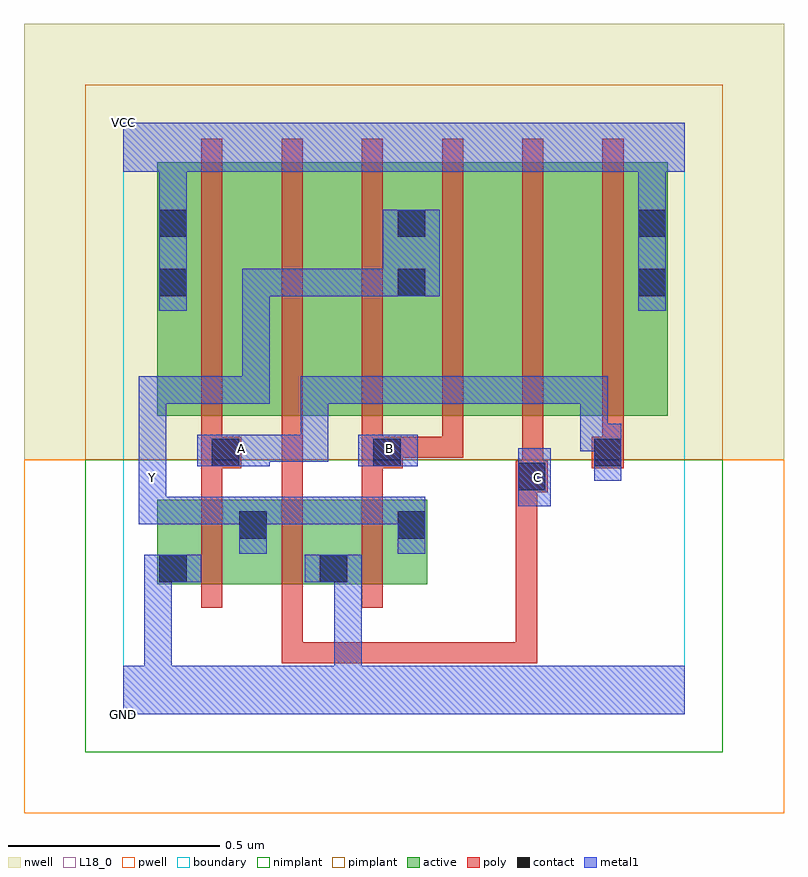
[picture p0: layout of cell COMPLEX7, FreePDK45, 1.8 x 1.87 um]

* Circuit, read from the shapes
.subckt COMPLEX7 A B C GND VCC Y
M1 Y A GND VSUBS nfet w=0.2u l=0.05u
M2 GND C Y VSUBS nfet w=0.2u l=0.05u
M3 Y B GND VSUBS nfet w=0.2u l=0.05u
M4 n1 A VCC n2 pfet w=0.6u l=0.05u
M5 n3 C n1 n2 pfet w=0.6u l=0.05u
M6 Y B n3 n2 pfet w=0.6u l=0.05u
M7 n4 B Y n2 pfet w=0.6u l=0.05u
M8 n5 C n4 n2 pfet w=0.6u l=0.05u
M9 VCC A n5 n2 pfet w=0.6u l=0.05u
.ends

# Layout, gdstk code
import gdstk
lib = gdstk.Library(unit=1e-6, precision=1e-09)
def R(c, l, rs):  # rectangles x0, y0, x1, y1
    for r in rs: c.add(gdstk.rectangle(r[:2], r[2:], *l))
def A(c, l, x, y, w, h, nx, ny, dx, dy):  # array of equal rectangles
    R(c, l, [(x+i*dx, y+j*dy, x+i*dx+w, y+j*dy+h) for i in range(nx) for j in range(ny)])
active = (1, 0)
pwell = (2, 0)
nwell = (3, 0)
nimplant = (4, 0)
pimplant = (5, 0)
poly = (9, 0)
contact = (10, 0)
metal1 = (11, 0)
L18_0 = (18, 0)
boundary = (235, 0)

complex7 = lib.new_cell('COMPLEX7')
R(complex7, active, [(0.08,0.307,0.345,0.507), (0.08,0.307,0.155,0.507), (0.27,0.307,0.535,0.507), (0.46,0.307,0.72,0.507), (0.46,0.307,0.535,0.397), (0.27,0.332,0.345,0.507), (0.645,0.332,0.72,0.507), (0.08,0.707,0.155,1.257), (0.08,0.707,0.305,1.307), (0.305,0.707,0.495,1.307), (0.495,0.707,0.72,1.307), (0.645,0.707,0.875,1.307), (0.645,0.707,0.72,1.2), (0.875,0.707,1.065,1.307), (1.065,0.707,1.29,1.307), (1.215,0.707,1.29,1.257)])
R(complex7, pwell, [(-0.235,-0.235,1.565,0.602)])
R(complex7, nwell, [(-0.235,0.602,1.565,1.635)])
R(complex7, nimplant, [(-0.09,-0.09,1.42,0.602)])
R(complex7, pimplant, [(-0.09,0.602,1.42,1.49)])
A(complex7, poly, 0.185, 0.252, 0.05, 0.31, 3, 1, 0.19, 0)
A(complex7, poly, 0.185, 0.652, 0.05, 0.71, 6, 1, 0.19, 0)
R(complex7, poly, [(0.375,0.12,0.425,0.17), (0.375,0.12,0.425,0.17), (0.375,0.12,0.425,0.17), (0.375,0.12,0.662,0.17), (0.375,0.12,0.425,0.302), (0.612,0.12,0.662,0.17), (0.612,0.12,0.795,0.17), (0.745,0.12,0.795,0.17), (0.745,0.12,0.795,0.17), (0.745,0.12,0.795,0.17), (0.745,0.12,0.98,0.17), (0.93,0.12,0.98,0.17), (0.93,0.12,0.98,0.17), (0.93,0.12,0.98,0.17), (0.93,0.12,0.98,0.575), (0.185,0.512,0.235,0.632), (0.375,0.512,0.425,0.607), (0.565,0.512,0.615,0.632), (0.93,0.525,1.005,0.6), (0.93,0.525,0.98,0.575), (0.93,0.525,0.98,0.575), (0.93,0.525,0.98,0.575), (0.93,0.525,0.98,0.575), (0.945,0.55,0.995,0.702), (0.375,0.557,0.425,0.607), (0.375,0.557,0.425,0.702), (0.185,0.582,0.28,0.657), (0.565,0.582,0.662,0.657), (1.11,0.582,1.185,0.657), (0.185,0.607,0.235,0.702), (0.565,0.607,0.615,0.702), (0.612,0.607,0.662,0.657), (0.612,0.607,0.662,0.657), (0.612,0.607,0.805,0.657), (0.755,0.607,0.805,0.702), (0.755,0.607,0.805,0.657), (1.135,0.607,1.185,0.702)])
R(complex7, contact, [(0.085,0.312,0.15,0.377), (0.465,0.312,0.53,0.377), (0.275,0.415,0.34,0.48), (0.65,0.415,0.715,0.48), (0.935,0.53,1,0.595), (0.21,0.587,0.275,0.652), (0.592,0.587,0.657,0.652), (1.115,0.587,1.18,0.652), (0.085,0.99,0.15,1.055), (0.65,0.99,0.715,1.055), (1.22,0.99,1.285,1.055), (0.085,1.13,0.15,1.195), (0.65,1.13,0.715,1.195), (1.22,1.13,1.285,1.195)])
R(complex7, metal1, [(0,0,1.33,0.115), (0.05,0.05,0.115,0.377), (0.5,0.05,0.565,0.115), (0.5,0.05,0.565,0.115), (0.5,0.05,0.565,0.115), (0.5,0.05,0.565,0.115), (0.5,0.05,0.565,0.377), (0.05,0.312,0.115,0.377), (0.05,0.312,0.115,0.377), (0.05,0.312,0.115,0.377), (0.05,0.312,0.115,0.377), (0.05,0.312,0.185,0.377), (0.43,0.312,0.565,0.377), (0.275,0.38,0.34,0.515), (0.65,0.38,0.715,0.515), (0.037,0.45,0.102,0.515), (0.037,0.45,0.102,0.515), (0.037,0.45,0.34,0.515), (0.037,0.45,0.102,0.627), (0.275,0.45,0.34,0.515), (0.275,0.45,0.34,0.515), (0.275,0.45,0.485,0.515), (0.42,0.45,0.485,0.515), (0.42,0.45,0.485,0.515), (0.42,0.45,0.485,0.515), (0.42,0.45,0.715,0.515), (0.65,0.45,0.715,0.515), (0.65,0.45,0.715,0.515), (0.935,0.492,1.012,0.63), (1.115,0.552,1.18,0.687), (0.037,0.562,0.102,0.8), (0.175,0.587,0.347,0.662), (0.557,0.587,0.697,0.662), (0.282,0.597,0.347,0.662), (0.282,0.597,0.347,0.662), (0.282,0.597,0.485,0.662), (0.42,0.597,0.485,0.662), (0.42,0.597,0.485,0.662), (0.42,0.597,0.485,0.662), (0.42,0.597,0.485,0.8), (1.082,0.622,1.18,0.687), (1.082,0.622,1.147,0.8), (1.082,0.622,1.147,0.687), (0.037,0.735,0.102,0.8), (0.037,0.735,0.102,0.8), (0.037,0.735,0.102,0.8), (0.037,0.735,0.347,0.8), (0.282,0.735,0.347,0.8), (0.282,0.735,0.347,1.055), (0.42,0.735,0.485,0.8), (0.42,0.735,0.725,0.8), (0.66,0.735,0.725,0.8), (0.66,0.735,0.725,0.8), (0.66,0.735,0.725,0.8), (0.66,0.735,0.862,0.8), (0.797,0.735,0.862,0.8), (0.797,0.735,1,0.8), (0.935,0.735,1.147,0.8), (0.935,0.735,1,0.8), (0.935,0.735,1,0.8), (0.935,0.735,1,0.8), (1.082,0.735,1.147,0.8), (0.085,0.955,0.15,1.23), (1.22,0.955,1.285,1.23), (0.282,0.99,0.347,1.055), (0.282,0.99,0.485,1.055), (0.42,0.99,0.485,1.055), (0.42,0.99,0.485,1.055), (0.42,0.99,0.485,1.055), (0.42,0.99,0.68,1.055), (0.615,0.99,0.68,1.055), (0.615,0.99,0.68,1.055), (0.615,0.99,0.75,1.195), (0.085,1.165,0.15,1.35), (1.22,1.165,1.285,1.35), (0,1.285,1.33,1.4)])
R(complex7, L18_0, [(0,0,1.33,0.115), (0.05,0.05,0.115,0.377), (0.5,0.05,0.565,0.115), (0.5,0.05,0.565,0.115), (0.5,0.05,0.565,0.115), (0.5,0.05,0.565,0.115), (0.5,0.05,0.565,0.377), (0.05,0.312,0.115,0.377), (0.05,0.312,0.115,0.377), (0.05,0.312,0.115,0.377), (0.05,0.312,0.115,0.377), (0.05,0.312,0.185,0.377), (0.43,0.312,0.565,0.377), (0.275,0.38,0.34,0.515), (0.65,0.38,0.715,0.515), (0.037,0.45,0.102,0.515), (0.037,0.45,0.102,0.515), (0.037,0.45,0.102,0.627), (0.037,0.45,0.34,0.515), (0.275,0.45,0.34,0.515), (0.275,0.45,0.34,0.515), (0.275,0.45,0.485,0.515), (0.42,0.45,0.485,0.515), (0.42,0.45,0.485,0.515), (0.42,0.45,0.485,0.515), (0.42,0.45,0.715,0.515), (0.65,0.45,0.715,0.515), (0.65,0.45,0.715,0.515), (0.935,0.492,1.012,0.63), (0.037,0.527,0.102,0.592), (0.947,0.527,1.012,0.592), (1.115,0.552,1.18,0.687), (0.037,0.562,0.102,0.8), (0.175,0.587,0.347,0.662), (0.557,0.587,0.697,0.662), (0.247,0.597,0.312,0.662), (0.282,0.597,0.347,0.662), (0.282,0.597,0.347,0.662), (0.282,0.597,0.485,0.662), (0.42,0.597,0.485,0.662), (0.42,0.597,0.485,0.662), (0.42,0.597,0.485,0.662), (0.42,0.597,0.485,0.8), (0.597,0.597,0.662,0.662), (1.082,0.622,1.147,0.687), (1.082,0.622,1.147,0.8), (1.082,0.622,1.18,0.687), (0.037,0.735,0.102,0.8), (0.037,0.735,0.102,0.8), (0.037,0.735,0.102,0.8), (0.037,0.735,0.347,0.8), (0.282,0.735,0.347,0.8), (0.282,0.735,0.347,1.055), (0.42,0.735,0.485,0.8), (0.42,0.735,0.725,0.8), (0.66,0.735,0.725,0.8), (0.66,0.735,0.725,0.8), (0.66,0.735,0.725,0.8), (0.66,0.735,0.862,0.8), (0.797,0.735,0.862,0.8), (0.797,0.735,1,0.8), (0.935,0.735,1,0.8), (0.935,0.735,1,0.8), (0.935,0.735,1,0.8), (0.935,0.735,1.147,0.8), (1.082,0.735,1.147,0.8), (0.085,0.955,0.15,1.23), (1.22,0.955,1.285,1.23), (0.282,0.99,0.347,1.055), (0.282,0.99,0.485,1.055), (0.42,0.99,0.485,1.055), (0.42,0.99,0.485,1.055), (0.42,0.99,0.485,1.055), (0.42,0.99,0.68,1.055), (0.615,0.99,0.68,1.055), (0.615,0.99,0.68,1.055), (0.615,0.99,0.75,1.195), (0.085,1.165,0.15,1.35), (1.22,1.165,1.285,1.35), (0,1.285,1.33,1.4)])
R(complex7, boundary, [(0,0,1.33,1.4)])
complex7.add(gdstk.Label('A', (0.28,0.63), layer=11, texttype=0))
complex7.add(gdstk.Label('B', (0.63,0.63), layer=11, texttype=0))
complex7.add(gdstk.Label('C', (0.98,0.56), layer=11, texttype=0))
complex7.add(gdstk.Label('Y', (0.07,0.56), layer=11, texttype=0))
complex7.add(gdstk.Label('VCC', (0,1.4), layer=11, texttype=0))
complex7.add(gdstk.Label('GND', (0,0), layer=11, texttype=0))

lib.write_gds('COMPLEX7.gds')
